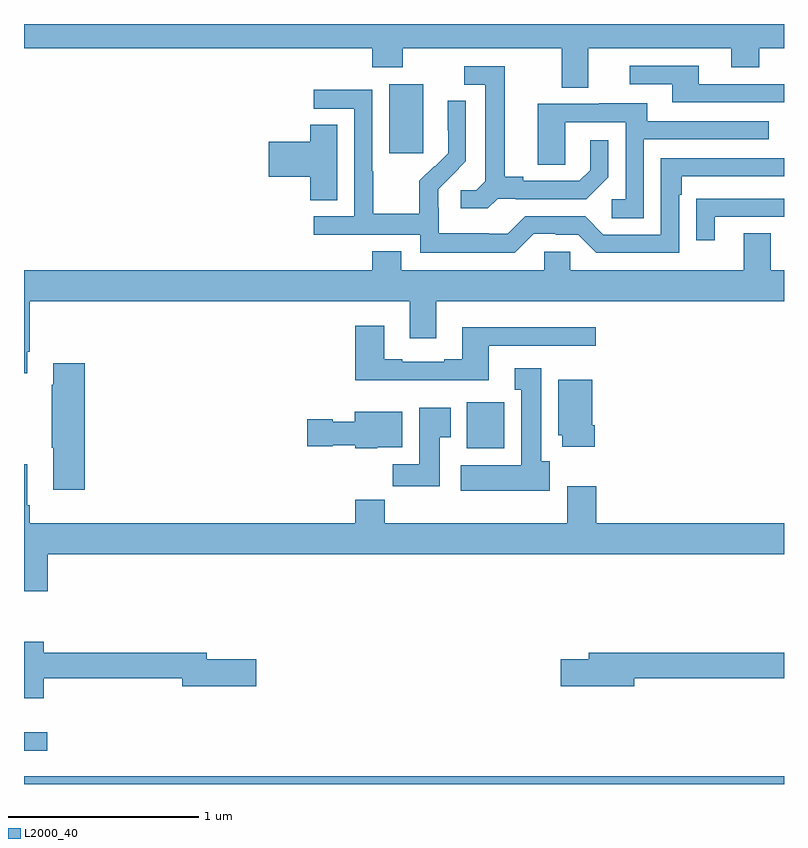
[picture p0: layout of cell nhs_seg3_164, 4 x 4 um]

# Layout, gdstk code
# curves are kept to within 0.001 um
import gdstk
lib = gdstk.Library(unit=1e-6, precision=1e-09)
def R(c, l, rs):  # rectangles x0, y0, x1, y1
    for r in rs: c.add(gdstk.rectangle(r[:2], r[2:], *l))
def P(c, l, *ps):  # polygons
    for p in ps: c.add(gdstk.Polygon(p, *l))
L2000_40 = (2000, 40)

nhs_seg3_164 = lib.new_cell('nhs_seg3_164')
R(nhs_seg3_164, L2000_40, [(119,674.4,123,674.44), (119,674.576,119.122,674.673), (121.331,676.166,121.528,676.408), (120.923,677.721,121.102,678.082)])
P(nhs_seg3_164, L2000_40, [(121.969,678.272),(122.723,678.272),(122.723,678.173),(122.871,678.173),(122.871,678.272),(123,678.272),(123,678.4),(119,678.4),(119,678.272),(120.833,678.272),(120.833,678.173),(120.993,678.173),(120.993,678.272),(121.829,678.272),(121.829,678.064),(121.969,678.064)],
  [(123,678.084),(122.551,678.084),(122.551,678.18),(122.187,678.18),(122.187,678.084),(122.411,678.084),(122.411,677.988),(123,677.988)],
  [(121.494,677.481),(121.588,677.481),(121.588,677.478),(121.96,677.478),(122.076,677.594),(122.076,677.788),(121.979,677.788),(121.979,677.631),(121.922,677.574),(121.627,677.574),(121.627,677.597),(121.531,677.597),(121.531,678.177),(121.317,678.177),(121.317,678.081),(121.427,678.081),(121.427,677.573),(121.38,677.526),(121.299,677.526),(121.299,677.429),(121.442,677.429)],
  [(121.683,677.295),(121.799,677.295),(121.799,677.292),(121.917,677.292),(122.013,677.196),(122.448,677.196),(122.448,677.501),(122.461,677.501),(122.461,677.598),(123,677.598),(123,677.694),(122.352,677.694),(122.352,677.292),(122.049,677.292),(121.953,677.388),(121.638,677.388),(121.545,677.295),(121.445,677.295),(121.445,677.299),(121.182,677.299),(121.182,677.433),(121.18,677.433),(121.18,677.53),(121.326,677.678),(121.326,677.996),(121.23,677.996),(121.23,677.842),(121.232,677.842),(121.232,677.72),(121.161,677.649),(121.158,677.652),(121.081,677.575),(121.081,677.401),(120.837,677.401),(120.837,677.624),(120.834,677.624),(120.834,678.054),(120.525,678.054),(120.525,677.955),(120.738,677.955),(120.738,677.388),(120.525,677.388),(120.525,677.292),(121.086,677.292),(121.086,677.195),(121.583,677.195)],
  [(122.262,677.793),(122.921,677.793),(122.921,677.889),(122.281,677.889),(122.281,677.983),(122.027,677.983),(122.027,677.979),(121.703,677.979),(121.703,677.659),(121.848,677.659),(121.848,677.883),(122.166,677.883),(122.166,677.478),(122.094,677.478),(122.094,677.377),(122.262,677.377)],
  [(120.649,677.87),(120.506,677.87),(120.506,677.78),(120.288,677.78),(120.288,677.597),(120.506,677.597),(120.506,677.473),(120.649,677.473)],
  [(122.635,677.385),(123,677.385),(123,677.481),(122.641,677.481),(122.641,677.48),(122.539,677.48),(122.539,677.262),(122.635,677.262)],
  [(119.017,676.675),(119.03,676.675),(119.03,676.94),(121.031,676.94),(121.031,676.746),(121.171,676.746),(121.171,676.94),(123,676.94),(123,677.104),(122.929,677.104),(122.929,677.299),(122.789,677.299),(122.789,677.104),(121.875,677.104),(121.875,677.202),(121.737,677.202),(121.737,677.104),(120.985,677.104),(120.985,677.203),(120.833,677.203),(120.833,677.104),(119,677.104),(119,676.563),(119.017,676.563)],
  [(121.447,676.707),(122.008,676.707),(122.008,676.804),(121.307,676.804),(121.307,676.636),(121.211,676.636),(121.211,676.623),(120.991,676.623),(120.991,676.636),(120.895,676.636),(120.895,676.813),(120.743,676.813),(120.743,676.526),(121.447,676.526)],
  [(119.321,676.615),(119.153,676.615),(119.153,676.502),(119.146,676.502),(119.146,676.171),(119.153,676.171),(119.153,675.948),(119.321,675.948)],
  [(121.768,676.098),(121.723,676.098),(121.723,676.588),(121.583,676.588),(121.583,676.475),(121.616,676.475),(121.616,676.078),(121.299,676.078),(121.299,675.944),(121.768,675.944)],
  [(122.003,676.288),(121.99,676.288),(121.99,676.528),(121.811,676.528),(121.811,676.236),(121.832,676.236),(121.832,676.176),(122.003,676.176)],
  [(121.189,676.225),(121.246,676.225),(121.246,676.381),(121.079,676.381),(121.079,676.084),(120.94,676.084),(120.94,675.966),(121.189,675.966)],
  [(120.858,676.172),(120.991,676.172),(120.991,676.36),(120.74,676.36),(120.74,676.306),(120.624,676.306),(120.624,676.319),(120.492,676.319),(120.492,676.177),(120.624,676.177),(120.624,676.184),(120.744,676.184),(120.744,676.166),(120.858,676.166)],
  [(119.126,675.608),(123,675.608),(123,675.772),(122.012,675.772),(122.012,675.967),(121.859,675.967),(121.859,675.772),(120.899,675.772),(120.899,675.896),(120.743,675.896),(120.743,675.772),(119.03,675.772),(119.03,675.868),(119.017,675.868),(119.017,676.084),(119,676.084),(119,675.414),(119.126,675.414)],
  [(119.104,674.956),(119.834,674.956),(119.834,674.914),(120.223,674.914),(120.223,675.056),(119.962,675.056),(119.962,675.092),(119.104,675.092),(119.104,675.148),(119,675.148),(119,674.852),(119.104,674.852)],
  [(122.212,674.956),(123,674.956),(123,675.092),(121.973,675.092),(121.973,675.056),(121.824,675.056),(121.824,674.914),(122.212,674.914)])

lib.write_gds('nhs_seg3_164.gds')
